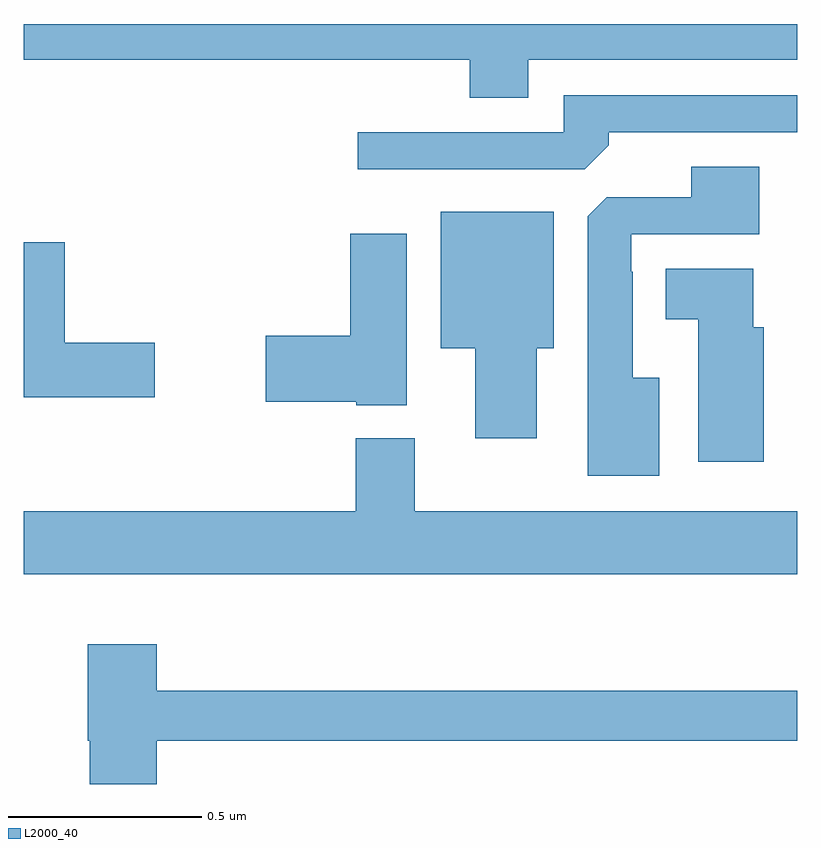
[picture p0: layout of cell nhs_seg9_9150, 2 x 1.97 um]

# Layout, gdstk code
import gdstk
lib = gdstk.Library(unit=1e-6, precision=1e-09)
def P(c, l, *ps):  # polygons
    for p in ps: c.add(gdstk.Polygon(p, *l))
L2000_40 = (2000, 40)

nhs_seg9_9150 = lib.new_cell('nhs_seg9_9150')
P(nhs_seg9_9150, L2000_40, [(227.305,1208.408),(228,1208.408),(228,1208.5),(226,1208.5),(226,1208.408),(227.153,1208.408),(227.153,1208.309),(227.305,1208.309)],
  [(227.513,1208.186),(227.513,1208.22),(228,1208.22),(228,1208.316),(227.397,1208.316),(227.397,1208.22),(226.863,1208.22),(226.863,1208.124),(227.451,1208.124)],
  [(227.644,1207.585),(227.575,1207.585),(227.575,1207.859),(227.571,1207.859),(227.571,1207.956),(227.902,1207.956),(227.902,1208.131),(227.726,1208.131),(227.726,1208.052),(227.508,1208.052),(227.459,1208.003),(227.459,1207.331),(227.644,1207.331)],
  [(227.326,1207.661),(227.371,1207.661),(227.371,1208.014),(227.078,1208.014),(227.078,1207.661),(227.168,1207.661),(227.168,1207.428),(227.326,1207.428)],
  [(226.99,1207.957),(226.844,1207.957),(226.844,1207.694),(226.626,1207.694),(226.626,1207.523),(226.86,1207.523),(226.86,1207.514),(226.99,1207.514)],
  [(226.339,1207.676),(226.106,1207.676),(226.106,1207.936),(226,1207.936),(226,1207.534),(226.339,1207.534)],
  [(227.914,1207.716),(227.887,1207.716),(227.887,1207.867),(227.66,1207.867),(227.66,1207.736),(227.744,1207.736),(227.744,1207.368),(227.914,1207.368)],
  [(228,1207.24),(227.011,1207.24),(227.011,1207.429),(226.859,1207.429),(226.859,1207.24),(226,1207.24),(226,1207.076),(228,1207.076)],
  [(226.343,1206.646),(228,1206.646),(228,1206.775),(226.343,1206.775),(226.343,1206.895),(226.165,1206.895),(226.165,1206.646),(226.17,1206.646),(226.17,1206.534),(226.343,1206.534)])

lib.write_gds('nhs_seg9_9150.gds')
